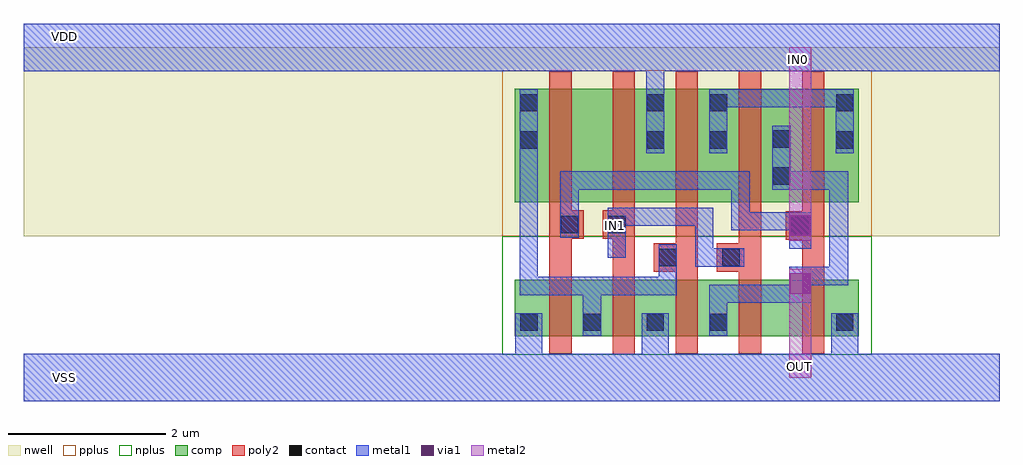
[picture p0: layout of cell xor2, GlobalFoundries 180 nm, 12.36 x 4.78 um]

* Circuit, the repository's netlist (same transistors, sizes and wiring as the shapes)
** sch_path: /foss/designs/engn1600-team1/CAD4/xor2.sch
.subckt xor2 VDD OUT IN0 IN1 VSS
*.PININFO VSS:B VDD:B IN0:I IN1:I OUT:O
M1 net3 IN1 VDD VDD pfet_03v3 L=0.28u W=1.44u nf=1 m=1
M2 net2 IN0 net3 VDD pfet_03v3 L=0.28u W=1.44u nf=1 m=1
M3 net2 IN0 VSS VSS nfet_03v3 L=0.28u W=0.72u nf=1 m=1
M5 OUT net2 VSS VSS nfet_03v3 L=0.28u W=0.72u nf=1 m=1
M6 net2 IN1 VSS VSS nfet_03v3 L=0.28u W=0.72u nf=1 m=1
M7 OUT IN0 net1 VDD pfet_03v3 L=0.28u W=1.44u nf=1 m=1
M8 OUT IN1 net1 VDD pfet_03v3 L=0.28u W=1.44u nf=1 m=1
M9 net1 net2 VDD VDD pfet_03v3 L=0.28u W=1.44u nf=1 m=1
M10 OUT IN1 net4 VSS nfet_03v3 L=0.28u W=0.72u nf=1 m=1
M11 net4 IN0 VSS VSS nfet_03v3 L=0.28u W=0.72u nf=1 m=1
.ends

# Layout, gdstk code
import gdstk
lib = gdstk.Library(unit=1e-6, precision=5e-09)
def R(c, l, rs):  # rectangles x0, y0, x1, y1
    for r in rs: c.add(gdstk.rectangle(r[:2], r[2:], *l))
def A(c, l, x, y, w, h, nx, ny, dx, dy):  # array of equal rectangles
    R(c, l, [(x+i*dx, y+j*dy, x+i*dx+w, y+j*dy+h) for i in range(nx) for j in range(ny)])
nwell = (21, 0)
comp = (22, 0)
poly2 = (30, 0)
pplus = (31, 0)
nplus = (32, 0)
contact = (33, 0)
metal1 = (34, 0)
via1 = (35, 0)
metal2 = (36, 0)

xor2 = lib.new_cell('xor2')
R(xor2, nwell, [(-7.27,-1.79,5.09,0.6)])
R(xor2, comp, [(-1.05,-3.06,3.31,-2.34), (-1.05,-1.36,3.31,0.08)])
A(xor2, poly2, -0.61, -3.28, 0.28, 3.58, 3, 1, 1.6, 0)
R(xor2, poly2, [(0.19,-3.285,0.47,0.3), (1.79,-3.28,2.07,0.305), (0.71,-2.24,1.07,-1.88), (1.51,-2.24,1.87,-1.88), (2.385,-1.835,2.745,-1.475), (-0.535,-1.82,-0.175,-1.46), (0.065,-1.82,0.425,-1.46)])
R(xor2, pplus, [(-1.21,-1.79,3.47,0.31)])
R(xor2, nplus, [(-1.21,-3.29,3.47,-1.79)])
A(xor2, contact, -0.98, -2.99, 0.22, 0.22, 4, 1, 0.8, 0)
R(xor2, contact, [(3.02,-2.99,3.24,-2.77), (0.78,-2.17,1,-1.95), (1.58,-2.17,1.8,-1.95), (2.455,-1.765,2.675,-1.545), (-0.465,-1.75,-0.245,-1.53), (0.135,-1.75,0.355,-1.53), (2.22,-1.14,2.44,-0.92), (-0.98,-0.68,-0.76,-0.46), (0.62,-0.68,0.84,-0.46), (1.42,-0.68,1.64,-0.46), (3.02,-0.68,3.24,-0.46), (2.22,-0.67,2.44,-0.45), (-0.98,-0.21,-0.76,0.01), (0.62,-0.21,0.84,0.01), (1.42,-0.21,1.64,0.01), (3.02,-0.21,3.24,0.01)])
R(xor2, metal1, [(-7.27,-3.88,5.09,-3.28), (-1.04,-3.28,-0.7,-2.765), (0.56,-3.28,0.9,-2.765), (2.96,-3.28,3.3,-2.765), (-0.185,-3.05,0.045,-2.535), (1.415,-3.05,1.645,-2.405), (1.645,-2.635,2.425,-2.405), (2.425,-2.635,2.705,-2.18), (-0.985,-2.535,-0.755,0.07), (-0.755,-2.535,1.005,-2.305), (2.705,-2.41,3.175,-2.18), (0.775,-2.305,1.005,-1.89), (2.935,-2.18,3.175,-1.2), (1.235,-2.175,1.465,-1.66), (1.465,-2.175,1.86,-1.945), (0.13,-2.06,0.36,-1.43), (2.425,-1.95,2.705,-1.485), (-0.47,-1.81,-0.24,-0.97), (1.695,-1.715,1.925,-1.2), (1.925,-1.715,2.425,-1.485), (0.36,-1.66,1.465,-1.43), (-0.24,-1.2,1.925,-0.97), (2.215,-1.2,2.445,-0.39), (2.445,-1.2,3.175,-0.97), (0.615,-0.74,0.845,0.3), (1.415,-0.74,1.645,0.07), (3.015,-0.74,3.245,0.07), (1.645,-0.16,3.015,0.07), (-7.27,0.3,5.09,0.9)])
R(xor2, via1, [(2.435,-2.52,2.695,-2.26), (2.435,-1.785,2.695,-1.525)])
R(xor2, metal2, [(2.425,-3.58,2.705,-2.2), (2.425,-1.845,2.705,0.6)])
xor2.add(gdstk.Label('IN0', (2.54,0.445), layer=36, texttype=10))
xor2.add(gdstk.Label('OUT', (2.56,-3.44), layer=36, texttype=10))
xor2.add(gdstk.Label('IN1', (0.23,-1.66), layer=34, texttype=10))
xor2.add(gdstk.Label('VDD', (-6.75,0.74), layer=34, texttype=10))
xor2.add(gdstk.Label('VSS', (-6.75,-3.58), layer=34, texttype=10))

lib.write_gds('xor2.gds')
